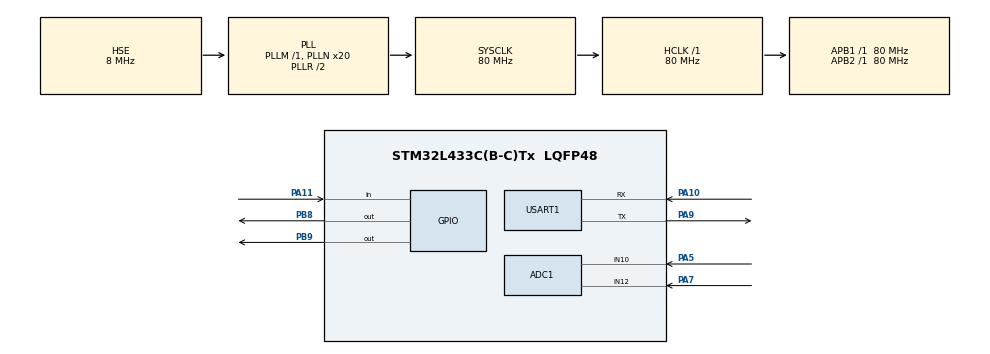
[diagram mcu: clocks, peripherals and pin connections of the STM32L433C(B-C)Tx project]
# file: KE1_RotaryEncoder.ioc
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ADC1.Channel-0\#ChannelRegularConversion=ADC_CHANNEL_10
ADC1.Channel-1\#ChannelRegularConversion=ADC_CHANNEL_12
ADC1.ContinuousConvMode=ENABLE
ADC1.DMAContinuousRequests=ENABLE
ADC1.NbrOfConversion=2
ADC1.NbrOfConversionFlag=1
ADC1.OffsetNumber-1\#ChannelRegularConversion=ADC_OFFSET_NONE
ADC1.Rank-1\#ChannelRegularConversion=2
ADC1.SamplingTime-1\#ChannelRegularConversion=ADC_SAMPLETIME_2CYCLES_5
ADC1.master=1
Dma.ADC1.0.Direction=DMA_PERIPH_TO_MEMORY
Dma.ADC1.0.Instance=DMA1_Channel1
Dma.ADC1.0.MemDataAlignment=DMA_MDATAALIGN_WORD
Dma.ADC1.0.MemInc=DMA_MINC_ENABLE
Dma.ADC1.0.Mode=DMA_CIRCULAR
Dma.ADC1.0.PeriphDataAlignment=DMA_PDATAALIGN_WORD
Dma.ADC1.0.PeriphInc=DMA_PINC_DISABLE
Dma.ADC1.0.Priority=DMA_PRIORITY_LOW
Dma.Request0=ADC1
Mcu.Family=STM32L4
Mcu.Name=STM32L433C(B-C)Tx
Mcu.Package=LQFP48
NVIC.DMA1_Channel1_IRQn=true\:0\:0\:false\:false\:true\:false\:true\:true
NVIC.PriorityGroup=NVIC_PRIORITYGROUP_4
PA10.Mode=Asynchronous
PA10.Signal=USART1_RX
PA11.GPIO_PuPd=GPIO_PULLUP
PA11.Signal=GPIO_Input
PA13\ (JTMS-SWDIO).Mode=Serial_Wire
PA13\ (JTMS-SWDIO).Signal=SYS_JTMS-SWDIO
PA14\ (JTCK-SWCLK).Mode=Serial_Wire
PA14\ (JTCK-SWCLK).Signal=SYS_JTCK-SWCLK
PA5.Signal=ADCx_IN10
PA7.Signal=ADCx_IN12
PA9.Mode=Asynchronous
PA9.Signal=USART1_TX
PB8.Signal=GPIO_Output
PB9.Signal=GPIO_Output
PH0-OSC_IN\ (PH0).Mode=HSE-External-Oscillator
PH0-OSC_IN\ (PH0).Signal=RCC_OSC_IN
PH1-OSC_OUT\ (PH1).Mode=HSE-External-Oscillator
PH1-OSC_OUT\ (PH1).Signal=RCC_OSC_OUT
ProjectManager.HeapSize=0x200
ProjectManager.StackSize=0x400
ProjectManager.TargetToolchain=STM32CubeIDE
RCC.ADCFreq_Value=32000000
RCC.AHBFreq_Value=80000000
RCC.APB1Freq_Value=80000000
RCC.APB1TimFreq_Value=80000000
RCC.APB2Freq_Value=80000000
RCC.APB2TimFreq_Value=80000000
RCC.CortexFreq_Value=80000000
RCC.HCLKFreq_Value=80000000
RCC.HSE_VALUE=8000000
RCC.HSI48_VALUE=48000000
RCC.HSI_VALUE=16000000
RCC.LSE_VALUE=32768
RCC.MSI_VALUE=4000000
RCC.PLLN=20
RCC.PLLSourceVirtual=RCC_PLLSOURCE_HSE
RCC.SYSCLKFreq_VALUE=80000000
RCC.SYSCLKSource=RCC_SYSCLKSOURCE_PLLCLK
RCC.USBFreq_Value=32000000
RCC.VCOOutputFreq_Value=160000000
SH.ADCx_IN10.0=ADC1_IN10,IN10-Single-Ended
SH.ADCx_IN12.0=ADC1_IN12,IN12-Single-Ended
USART1.VirtualMode-Asynchronous=VM_ASYNC
board=custom

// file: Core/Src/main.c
/* USER CODE BEGIN Header */
/**
  ******************************************************************************
  * @file           : main.c
  * @brief          : Main program body
  ******************************************************************************
  * @attention
  *
  * <h2><center>&copy; Copyright (c) 2020 STMicroelectronics.
  * All rights reserved.</center></h2>
  *
  * This software component is licensed by ST under BSD 3-Clause license,
  * the "License"; You may not use this file except in compliance with the
  * License. You may obtain a copy of the License at:
  *                        opensource.org/licenses/BSD-3-Clause
  *
  ******************************************************************************
  */
/* USER CODE END Header */

#include "main.h"
#include "adc.h"
#include "dma.h"
#include "usart.h"
#include "gpio.h"

/* USER CODE BEGIN Includes */
#include <stdio.h>
#include <string.h>
#include "oled.h"
/* USER CODE END Includes */

void SystemClock_Config(void);

/* USER CODE BEGIN 0 */
void oled_show_xy(void)
{
	uint8_t   strBuf[17] = {0};
	uint8_t   show_str[17] = {0};
	int       iLen = 0;

	uint16_t  x, y;

	memset(strBuf, 0, sizeof(strBuf));
	memset(show_str, ' ', sizeof(show_str));

	x = adc_get_x_value()*337;
	y = adc_get_y_value()*337;
	if(x >= 1023) x = 1023;
	if(y >= 1023) y = 1023;
	snprintf((char *)strBuf, sizeof(strBuf),"X:%d,Y:%d,Z:%d", x, y, HAL_GPIO_ReadPin(GPIOA, GPIO_PIN_11));

	iLen = strlen((char *)strBuf);
	memcpy(show_str, strBuf, iLen);
	OLED_ShowString(0,2, show_str, 8);
}
/* USER CODE END 0 */

int main(void)
{

  /* MCU Configuration--------------------------------------------------------*/

  /* Reset of all peripherals, Initializes the Flash interface and the Systick. */
  HAL_Init();

  /* Configure the system clock */
  SystemClock_Config();

  /* Initialize all configured peripherals */
  MX_GPIO_Init();
  MX_USART1_UART_Init();
  MX_DMA_Init();
  MX_ADC1_Init();
  /* USER CODE BEGIN 2 */
  adc_start();
  OLED_Init();
  OLED_Clear();
  OLED_ShowString(0,0, (uint8_t *)"****Rocker****", 8);
  /* USER CODE END 2 */

  /* Infinite loop */
  /* USER CODE BEGIN WHILE */
  while (1)
  {

	  oled_show_xy();
	  HAL_Delay(1000);
    /* USER CODE END WHILE */

  }
}

void SystemClock_Config(void)
{
  RCC_OscInitTypeDef RCC_OscInitStruct = {0};
  RCC_ClkInitTypeDef RCC_ClkInitStruct = {0};
  RCC_PeriphCLKInitTypeDef PeriphClkInit = {0};

  /** Initializes the CPU, AHB and APB busses clocks
  */
  RCC_OscInitStruct.OscillatorType = RCC_OSCILLATORTYPE_HSE;
  RCC_OscInitStruct.HSEState = RCC_HSE_ON;
  RCC_OscInitStruct.PLL.PLLState = RCC_PLL_ON;
  RCC_OscInitStruct.PLL.PLLSource = RCC_PLLSOURCE_HSE;
  RCC_OscInitStruct.PLL.PLLM = 1;
  RCC_OscInitStruct.PLL.PLLN = 20;
  RCC_OscInitStruct.PLL.PLLP = RCC_PLLP_DIV7;
  RCC_OscInitStruct.PLL.PLLQ = RCC_PLLQ_DIV2;
  RCC_OscInitStruct.PLL.PLLR = RCC_PLLR_DIV2;
  if (HAL_RCC_OscConfig(&RCC_OscInitStruct) != HAL_OK)
  {
    Error_Handler();
  }
  /** Initializes the CPU, AHB and APB busses clocks
  */
  RCC_ClkInitStruct.ClockType = RCC_CLOCKTYPE_HCLK|RCC_CLOCKTYPE_SYSCLK
                              |RCC_CLOCKTYPE_PCLK1|RCC_CLOCKTYPE_PCLK2;
  RCC_ClkInitStruct.SYSCLKSource = RCC_SYSCLKSOURCE_PLLCLK;
  RCC_ClkInitStruct.AHBCLKDivider = RCC_SYSCLK_DIV1;
  RCC_ClkInitStruct.APB1CLKDivider = RCC_HCLK_DIV1;
  RCC_ClkInitStruct.APB2CLKDivider = RCC_HCLK_DIV1;

  if (HAL_RCC_ClockConfig(&RCC_ClkInitStruct, FLASH_LATENCY_4) != HAL_OK)
  {
    Error_Handler();
  }
  PeriphClkInit.PeriphClockSelection = RCC_PERIPHCLK_USART1|RCC_PERIPHCLK_ADC;
  PeriphClkInit.Usart1ClockSelection = RCC_USART1CLKSOURCE_PCLK2;
  PeriphClkInit.AdcClockSelection = RCC_ADCCLKSOURCE_PLLSAI1;
  PeriphClkInit.PLLSAI1.PLLSAI1Source = RCC_PLLSOURCE_HSE;
  PeriphClkInit.PLLSAI1.PLLSAI1M = 1;
  PeriphClkInit.PLLSAI1.PLLSAI1N = 8;
  PeriphClkInit.PLLSAI1.PLLSAI1P = RCC_PLLP_DIV7;
  PeriphClkInit.PLLSAI1.PLLSAI1Q = RCC_PLLQ_DIV2;
  PeriphClkInit.PLLSAI1.PLLSAI1R = RCC_PLLR_DIV2;
  PeriphClkInit.PLLSAI1.PLLSAI1ClockOut = RCC_PLLSAI1_ADC1CLK;
  if (HAL_RCCEx_PeriphCLKConfig(&PeriphClkInit) != HAL_OK)
  {
    Error_Handler();
  }
  /** Configure the main internal regulator output voltage
  */
  if (HAL_PWREx_ControlVoltageScaling(PWR_REGULATOR_VOLTAGE_SCALE1) != HAL_OK)
  {
    Error_Handler();
  }
}

void Error_Handler(void)
{
}

/************************ (C) COPYRIGHT STMicroelectronics *****END OF FILE****/
